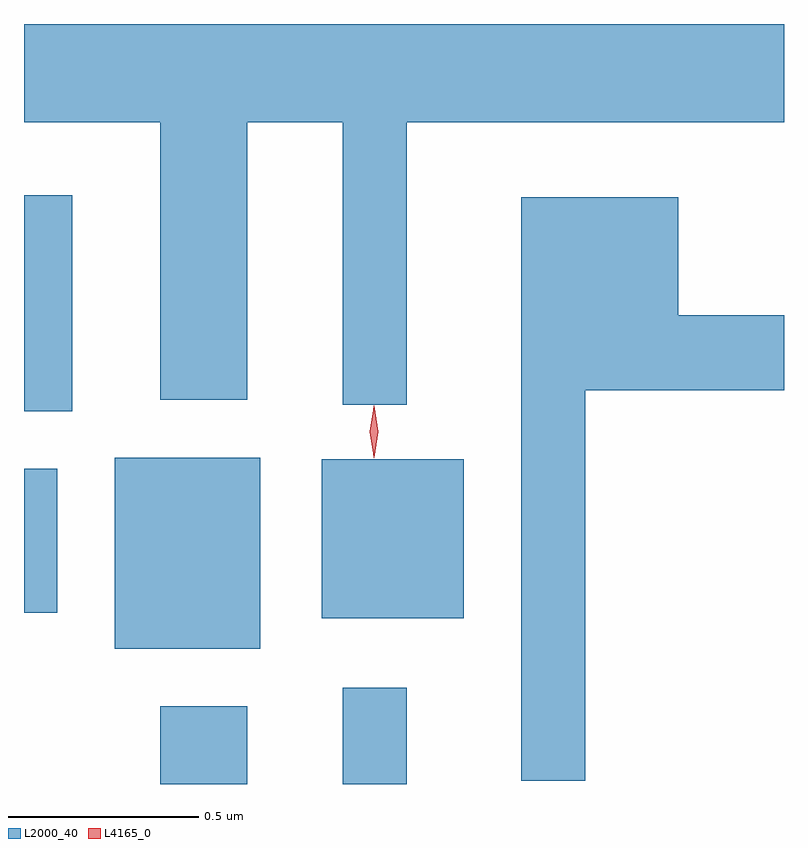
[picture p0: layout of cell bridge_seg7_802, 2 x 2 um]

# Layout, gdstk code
import gdstk
lib = gdstk.Library(unit=1e-6, precision=1e-09)
def R(c, l, rs):  # rectangles x0, y0, x1, y1
    for r in rs: c.add(gdstk.rectangle(r[:2], r[2:], *l))
def P(c, l, *ps):  # polygons
    for p in ps: c.add(gdstk.Polygon(p, *l))
L2000_40 = (2000, 40)
L4165_0 = (4165, 0)

bridge_seg7_802 = lib.new_cell('bridge_seg7_802')
R(bridge_seg7_802, L2000_40, [(248.541,1739.215,248.769,1739.419), (249.021,1739.215,249.189,1739.468), (248.421,1739.571,248.804,1740.074), (248.966,1739.651,249.339,1740.069), (248.182,1739.666,248.269,1740.044), (248.182,1740.196,248.309,1740.764)])
P(bridge_seg7_802, L2000_40, [(249.189,1740.956),(250.182,1740.956),(250.182,1741.215),(248.182,1741.215),(248.182,1740.956),(248.541,1740.956),(248.541,1740.226),(248.769,1740.226),(248.769,1740.956),(249.021,1740.956),(249.021,1740.213),(249.189,1740.213)],
  [(249.659,1740.251),(250.182,1740.251),(250.182,1740.449),(249.904,1740.449),(249.904,1740.759),(249.491,1740.759),(249.491,1739.223),(249.659,1739.223)])
P(bridge_seg7_802, L4165_0, [(249.103,1740.074),(249.094,1740.142),(249.103,1740.21),(249.104,1740.21),(249.104,1740.21),(249.114,1740.142),(249.104,1740.074),(249.104,1740.074)],
  [(249.102,1740.078),(249.102,1740.078),(249.092,1740.142),(249.102,1740.207),(249.102,1740.207),(249.103,1740.207),(249.112,1740.142),(249.103,1740.078)])

lib.write_gds('bridge_seg7_802.gds')
